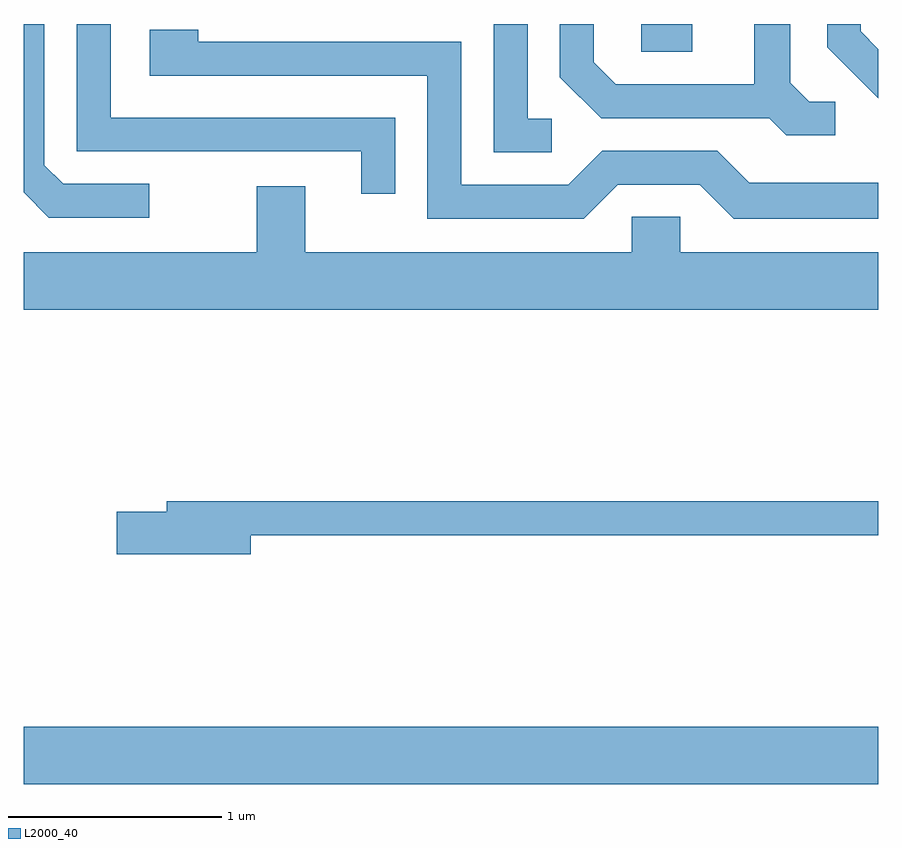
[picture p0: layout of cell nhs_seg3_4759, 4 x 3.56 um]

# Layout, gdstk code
import gdstk
lib = gdstk.Library(unit=1e-6, precision=1e-09)
def R(c, l, rs):  # rectangles x0, y0, x1, y1
    for r in rs: c.add(gdstk.rectangle(r[:2], r[2:], *l))
def P(c, l, *ps):  # polygons
    for p in ps: c.add(gdstk.Polygon(p, *l))
L2000_40 = (2000, 40)

nhs_seg3_4759 = lib.new_cell('nhs_seg3_4759')
R(nhs_seg3_4759, L2000_40, [(323.611,1250.336,327.611,1250.604), (326.501,1253.761,326.739,1253.892)])
P(nhs_seg3_4759, L2000_40, [(326.083,1253.449),(325.969,1253.449),(325.969,1253.892),(325.811,1253.892),(325.811,1253.291),(326.083,1253.291)],
  [(327.611,1253.775),(327.529,1253.857),(327.529,1253.892),(327.371,1253.892),(327.371,1253.784),(327.611,1253.544)],
  [(327.408,1253.529),(327.287,1253.529),(327.199,1253.617),(327.199,1253.892),(327.031,1253.892),(327.031,1253.609),(326.382,1253.609),(326.279,1253.712),(326.279,1253.892),(326.121,1253.892),(326.121,1253.644),(326.314,1253.451),(327.099,1253.451),(327.179,1253.371),(327.408,1253.371)],
  [(324.198,1253.144),(323.797,1253.144),(323.709,1253.232),(323.709,1253.892),(323.611,1253.892),(323.611,1253.104),(323.729,1252.986),(324.198,1252.986)],
  [(325.349,1253.454),(324.019,1253.454),(324.019,1253.892),(323.861,1253.892),(323.861,1253.296),(325.191,1253.296),(325.191,1253.098),(325.349,1253.098)],
  [(326.392,1253.141),(326.774,1253.141),(326.934,1252.981),(327.611,1252.981),(327.611,1253.149),(327.007,1253.149),(326.857,1253.299),(326.319,1253.299),(326.159,1253.139),(325.659,1253.139),(325.659,1253.809),(324.429,1253.809),(324.429,1253.864),(324.201,1253.864),(324.201,1253.651),(325.501,1253.651),(325.501,1252.981),(326.232,1252.981)],
  [(327.611,1252.824),(326.684,1252.824),(326.684,1252.989),(326.456,1252.989),(326.456,1252.824),(324.929,1252.824),(324.929,1253.134),(324.701,1253.134),(324.701,1252.824),(323.611,1252.824),(323.611,1252.556),(327.611,1252.556)],
  [(324.674,1251.501),(327.611,1251.501),(327.611,1251.659),(324.281,1251.659),(324.281,1251.609),(324.046,1251.609),(324.046,1251.411),(324.674,1251.411)])

lib.write_gds('nhs_seg3_4759.gds')
